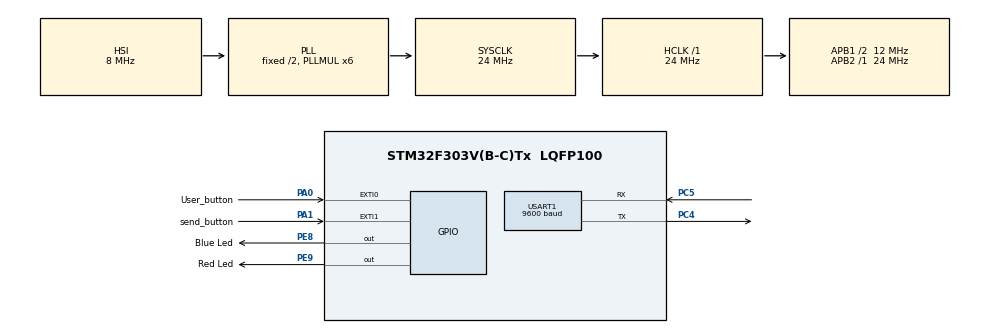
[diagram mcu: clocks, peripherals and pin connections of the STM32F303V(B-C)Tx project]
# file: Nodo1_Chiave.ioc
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Dma.Request0=USART1_TX
Dma.USART1_TX.0.Direction=DMA_MEMORY_TO_PERIPH
Dma.USART1_TX.0.Instance=DMA1_Channel4
Dma.USART1_TX.0.MemDataAlignment=DMA_MDATAALIGN_BYTE
Dma.USART1_TX.0.MemInc=DMA_MINC_ENABLE
Dma.USART1_TX.0.Mode=DMA_NORMAL
Dma.USART1_TX.0.PeriphDataAlignment=DMA_PDATAALIGN_BYTE
Dma.USART1_TX.0.PeriphInc=DMA_PINC_DISABLE
Dma.USART1_TX.0.Priority=DMA_PRIORITY_LOW
Mcu.Family=STM32F3
Mcu.Name=STM32F303V(B-C)Tx
Mcu.Package=LQFP100
NVIC.DMA1_Channel4_IRQn=true\:0\:0\:false\:false\:true\:false\:true\:true
NVIC.EXTI0_IRQn=true\:0\:0\:false\:false\:true\:true\:true\:true
NVIC.EXTI1_IRQn=true\:0\:0\:false\:false\:true\:true\:true\:true
NVIC.PriorityGroup=NVIC_PRIORITYGROUP_0
NVIC.USART1_IRQn=true\:0\:0\:false\:false\:true\:true\:true\:true
PA0.GPIO_Label=User_button
PA0.Signal=GPXTI0
PA1.GPIO_Label=send_button
PA1.GPIO_ModeDefaultEXTI=GPIO_MODE_IT_FALLING
PA1.GPIO_PuPd=GPIO_PULLUP
PA1.Signal=GPXTI1
PC4.Mode=Asynchronous
PC4.Signal=USART1_TX
PC5.Mode=Asynchronous
PC5.Signal=USART1_RX
PE8.GPIO_Label=Blue Led
PE8.Signal=GPIO_Output
PE9.GPIO_Label=Red Led
PE9.Signal=GPIO_Output
ProjectManager.HeapSize=0x200
ProjectManager.StackSize=0x400
ProjectManager.TargetToolchain=STM32CubeIDE
RCC.AHBFreq_Value=24000000
RCC.APB1CLKDivider=RCC_HCLK_DIV2
RCC.APB1Freq_Value=12000000
RCC.APB1TimFreq_Value=24000000
RCC.APB2Freq_Value=24000000
RCC.APB2TimFreq_Value=24000000
RCC.CortexFreq_Value=24000000
RCC.HCLKFreq_Value=24000000
RCC.HSE_VALUE=8000000
RCC.HSI_VALUE=8000000
RCC.LSE_VALUE=32768
RCC.PLLMUL=RCC_PLL_MUL6
RCC.SYSCLKFreq_VALUE=24000000
RCC.SYSCLKSourceVirtual=RCC_SYSCLKSOURCE_PLLCLK
RCC.USBFreq_Value=24000000
USART1.BaudRate=9600
USART1.VirtualMode-Asynchronous=VM_ASYNC
VP_CRC_VS_CRC.Mode=CRC_Activate
board=STM32F3DISCOVERY

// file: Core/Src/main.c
/* USER CODE BEGIN Header */
/**
  ******************************************************************************
  * @file           : main.c
  * @brief          : Main program body
  ******************************************************************************
  * @attention
  *
  * Copyright (c) 2026 STMicroelectronics.
  * All rights reserved.
  *
  * This software is licensed under terms that can be found in the LICENSE file
  * in the root directory of this software component.
  * If no LICENSE file comes with this software, it is provided AS-IS.
  *
  ******************************************************************************
  */
/* USER CODE END Header */
#include "main.h"

/* USER CODE BEGIN Includes */
#include <string.h>
#include <stdio.h>
#include "cmox_crypto.h"
/* USER CODE END Includes */

/* USER CODE BEGIN PD */
#define PACKET_SIZE     32
#define AES_BLOCK_SIZE  16
#define CMOX_AES_IMPL CMOX_AES_SMALL

/*
 * Chiave AES-128 condivisa (16 byte).
 * DEVE essere IDENTICA nel Nodo 2.
 * In un sistema reale verrebbe protetta in Flash OTP o TrustZone;
 * qui e' hardcoded a scopo dimostrativo.
 */
static const uint8_t shared_key[16] = {
    0x2B, 0x7E, 0x15, 0x16,
    0x28, 0xAE, 0xD2, 0xA6,
    0xAB, 0xF7, 0x15, 0x88,
    0x09, 0xCF, 0x4F, 0x3C
};

/*
 * Costante "OPEN" codificata come 4 byte.
 * Inserita nel plaintext come sanity-check post-decifratura sul Nodo 2.
 * 'O'=0x4F 'P'=0x50 'E'=0x45 'N'=0x4E
 */
#define CMD_OPEN_WORD  0x4F50454Eul

/* Padding fisso per completare il blocco da 16 byte (byte 8..15) */
#define PADDING_BYTE   0xAA

/* USER CODE END PD */

CRC_HandleTypeDef hcrc;

UART_HandleTypeDef huart1;
DMA_HandleTypeDef hdma_usart1_tx;

/* USER CODE BEGIN PV */

char tx_buffer[PACKET_SIZE + 1]; // Per la Chiave
uint32_t key_counter = 0; // Il nostro contatore di sicurezza

/*
 * Flag di modalita' operativa, commutabile a runtime dal pulsante:
 *   0 = Scenario 1 (Fase 1, pacchetto in chiaro)
 *   1 = Scenario 2 (Fase 2, pacchetto cifrato con AES-128-ECB)
 * Deve essere tenuto sincronizzato manualmente con il Nodo 2.
 */
uint8_t secure_mode = 0;

/* Buffer di lavoro per la cifratura AES (Fase 2) */
static uint8_t plaintext[AES_BLOCK_SIZE];
static uint8_t ciphertext[AES_BLOCK_SIZE];

/* USER CODE END PV */

void SystemClock_Config(void);
static void MX_GPIO_Init(void);
static void MX_DMA_Init(void);
static void MX_USART1_UART_Init(void);
static void MX_CRC_Init(void);

int main(void)
{

  /* MCU Configuration--------------------------------------------------------*/

  /* Reset of all peripherals, Initializes the Flash interface and the Systick. */
  HAL_Init();

  /* Configure the system clock */
  SystemClock_Config();

  /* Initialize all configured peripherals */
  MX_GPIO_Init();
  MX_DMA_Init();
  MX_USART1_UART_Init();
  MX_CRC_Init();
  /* USER CODE BEGIN 2 */

  /*
   * Inizializzazione della libreria X-CUBE-CRYPTOLIB.
   * Deve essere chiamata una sola volta prima di qualsiasi
   * operazione crittografica. Necessaria anche in Fase 1
   * (nessun overhead: se secure_mode==0 non viene mai usata).
   */
  cmox_initialize(NULL);

  /* USER CODE END 2 */

  /* Infinite loop */
  while (1)
  {

  }
}

void SystemClock_Config(void)
{
  RCC_OscInitTypeDef RCC_OscInitStruct = {0};
  RCC_ClkInitTypeDef RCC_ClkInitStruct = {0};
  RCC_PeriphCLKInitTypeDef PeriphClkInit = {0};

  /** Initializes the RCC Oscillators according to the specified parameters
  * in the RCC_OscInitTypeDef structure.
  */
  RCC_OscInitStruct.OscillatorType = RCC_OSCILLATORTYPE_HSI;
  RCC_OscInitStruct.HSIState = RCC_HSI_ON;
  RCC_OscInitStruct.HSICalibrationValue = RCC_HSICALIBRATION_DEFAULT;
  RCC_OscInitStruct.PLL.PLLState = RCC_PLL_ON;
  RCC_OscInitStruct.PLL.PLLSource = RCC_PLLSOURCE_HSI;
  RCC_OscInitStruct.PLL.PLLMUL = RCC_PLL_MUL6;
  if (HAL_RCC_OscConfig(&RCC_OscInitStruct) != HAL_OK)
  {
    Error_Handler();
  }

  /** Initializes the CPU, AHB and APB buses clocks
  */
  RCC_ClkInitStruct.ClockType = RCC_CLOCKTYPE_HCLK|RCC_CLOCKTYPE_SYSCLK
                              |RCC_CLOCKTYPE_PCLK1|RCC_CLOCKTYPE_PCLK2;
  RCC_ClkInitStruct.SYSCLKSource = RCC_SYSCLKSOURCE_PLLCLK;
  RCC_ClkInitStruct.AHBCLKDivider = RCC_SYSCLK_DIV1;
  RCC_ClkInitStruct.APB1CLKDivider = RCC_HCLK_DIV2;
  RCC_ClkInitStruct.APB2CLKDivider = RCC_HCLK_DIV1;

  if (HAL_RCC_ClockConfig(&RCC_ClkInitStruct, FLASH_LATENCY_0) != HAL_OK)
  {
    Error_Handler();
  }
  PeriphClkInit.PeriphClockSelection = RCC_PERIPHCLK_USART1;
  PeriphClkInit.Usart1ClockSelection = RCC_USART1CLKSOURCE_PCLK2;
  if (HAL_RCCEx_PeriphCLKConfig(&PeriphClkInit) != HAL_OK)
  {
    Error_Handler();
  }
}

static void MX_CRC_Init(void)
{

  hcrc.Instance = CRC;
  hcrc.Init.DefaultPolynomialUse = DEFAULT_POLYNOMIAL_ENABLE;
  hcrc.Init.DefaultInitValueUse = DEFAULT_INIT_VALUE_ENABLE;
  hcrc.Init.InputDataInversionMode = CRC_INPUTDATA_INVERSION_NONE;
  hcrc.Init.OutputDataInversionMode = CRC_OUTPUTDATA_INVERSION_DISABLE;
  hcrc.InputDataFormat = CRC_INPUTDATA_FORMAT_BYTES;
  if (HAL_CRC_Init(&hcrc) != HAL_OK)
  {
    Error_Handler();
  }

}

static void MX_USART1_UART_Init(void)
{

  huart1.Instance = USART1;
  huart1.Init.BaudRate = 9600;
  huart1.Init.WordLength = UART_WORDLENGTH_8B;
  huart1.Init.StopBits = UART_STOPBITS_1;
  huart1.Init.Parity = UART_PARITY_NONE;
  huart1.Init.Mode = UART_MODE_TX_RX;
  huart1.Init.HwFlowCtl = UART_HWCONTROL_NONE;
  huart1.Init.OverSampling = UART_OVERSAMPLING_16;
  huart1.Init.OneBitSampling = UART_ONE_BIT_SAMPLE_DISABLE;
  huart1.AdvancedInit.AdvFeatureInit = UART_ADVFEATURE_NO_INIT;
  if (HAL_UART_Init(&huart1) != HAL_OK)
  {
    Error_Handler();
  }

}

static void MX_DMA_Init(void)
{

  /* DMA controller clock enable */
  __HAL_RCC_DMA1_CLK_ENABLE();

  /* DMA interrupt init */
  /* DMA1_Channel4_IRQn interrupt configuration */
  HAL_NVIC_SetPriority(DMA1_Channel4_IRQn, 0, 0);
  HAL_NVIC_EnableIRQ(DMA1_Channel4_IRQn);

}

static void MX_GPIO_Init(void)
{
  GPIO_InitTypeDef GPIO_InitStruct = {0};

  /* GPIO Ports Clock Enable */
  __HAL_RCC_GPIOA_CLK_ENABLE();
  __HAL_RCC_GPIOC_CLK_ENABLE();
  __HAL_RCC_GPIOE_CLK_ENABLE();

  /*Configure GPIO pin Output Level */
  HAL_GPIO_WritePin(GPIOE, Blue_Led_Pin|Red_Led_Pin, GPIO_PIN_RESET);

  /*Configure GPIO pin : User_button_Pin */
  GPIO_InitStruct.Pin = User_button_Pin;
  GPIO_InitStruct.Mode = GPIO_MODE_IT_RISING;
  GPIO_InitStruct.Pull = GPIO_NOPULL;
  HAL_GPIO_Init(User_button_GPIO_Port, &GPIO_InitStruct);

  /*Configure GPIO pin : send_button_Pin */
  GPIO_InitStruct.Pin = send_button_Pin;
  GPIO_InitStruct.Mode = GPIO_MODE_IT_RISING_FALLING;
  GPIO_InitStruct.Pull = GPIO_PULLUP;
  HAL_GPIO_Init(send_button_GPIO_Port, &GPIO_InitStruct);

  /*Configure GPIO pins : Blue_Led_Pin Red_Led_Pin */
  GPIO_InitStruct.Pin = Blue_Led_Pin|Red_Led_Pin;
  GPIO_InitStruct.Mode = GPIO_MODE_OUTPUT_PP;
  GPIO_InitStruct.Pull = GPIO_NOPULL;
  GPIO_InitStruct.Speed = GPIO_SPEED_FREQ_LOW;
  HAL_GPIO_Init(GPIOE, &GPIO_InitStruct);

  /* EXTI interrupt init*/
  HAL_NVIC_SetPriority(EXTI0_IRQn, 0, 0);
  HAL_NVIC_EnableIRQ(EXTI0_IRQn);

  HAL_NVIC_SetPriority(EXTI1_IRQn, 0, 0);
  HAL_NVIC_EnableIRQ(EXTI1_IRQn);

}

/* USER CODE BEGIN 4 */

void HAL_GPIO_EXTI_Callback(uint16_t GPIO_Pin)
{
    /* ─────────────────────────────────────────────────────────────────────────

     * 1. PULSANTE ONBOARD (GPIO_PIN_0) -> SWITCH MODALITÀ (Safe / Secure)

     * ───────────────────────────────────────────────────────────────────────── */
    if (GPIO_Pin == GPIO_PIN_0)
    {
        uint32_t now = HAL_GetTick();
        static uint32_t last_press_mode = 0;
        // Anti-rimbalzo (Debounce) dedicato alla modalità
        if ((now - last_press_mode) < 200) return;
        last_press_mode = now;
        secure_mode = !secure_mode;
        /*

         * Al cambio di modalità azzera il contatore di trasmissione.

         * Questo permette a Nodo 1 e Nodo 2 di ripartire da zero insieme

         * e rimanere perfettamente sincronizzati.

         */

        key_counter = 0;

        // Feedback visivo: invertiamo il LED arancione/blu (es. PE8) per indicare il cambio

        HAL_GPIO_TogglePin(GPIOE, GPIO_PIN_8);
    }
    /* ─────────────────────────────────────────────────────────────────────────

     * 2. NUOVO PULSANTE ESTERNO (Es. GPIO_PIN_1) -> TRASMISSIONE COMANDO

     * ─────────────────────────────────────────────────────────────────────────

     * NOTA: Sostituisci "GPIO_PIN_1" con il pin esatto che hai scelto su CubeMX

     * (ad esempio GPIO_PIN_3, GPIO_PIN_4, ecc.)

     * ───────────────────────────────────────────────────────────────────────── */
    else if (GPIO_Pin == GPIO_PIN_1)
    {
        uint32_t now = HAL_GetTick();
        static uint32_t  last_edge_time  = 0;
        static uint8_t   button_pressed  = 0;   // <-- flag "già premuto"

        /* Debounce rapido su qualsiasi fronte (50 ms bastano per il rumore) */
        if ((now - last_edge_time) < 50) return;
        last_edge_time = now;

        /* Leggiamo lo stato reale del pin subito dopo il fronte */
        GPIO_PinState state = HAL_GPIO_ReadPin(send_button_GPIO_Port, send_button_Pin);

        if (state == GPIO_PIN_RESET)
        {
            /* ── FRONTE DI DISCESA: pulsante appena premuto ─── */
            if (button_pressed) return;   // già tenuto: ignora assolutamente
            button_pressed = 1;

            key_counter++;

            if (secure_mode == 0)
            {
                /* ── FASE 1: pacchetto in chiaro ─── */
                snprintf(tx_buffer, sizeof(tx_buffer),
                         "OPEN:1234:CNT:%04lu\n", key_counter);
            }
            else
            {
                /* ── FASE 2: pacchetto cifrato AES-128-ECB ─── */
                memset(plaintext, 0, AES_BLOCK_SIZE);

                plaintext[0] = (uint8_t)( key_counter        & 0xFF);
                plaintext[1] = (uint8_t)((key_counter >>  8) & 0xFF);
                plaintext[2] = (uint8_t)((key_counter >> 16) & 0xFF);
                plaintext[3] = (uint8_t)((key_counter >> 24) & 0xFF);

                plaintext[4] = (uint8_t)((CMD_OPEN_WORD >> 24) & 0xFF);
                plaintext[5] = (uint8_t)((CMD_OPEN_WORD >> 16) & 0xFF);
                plaintext[6] = (uint8_t)((CMD_OPEN_WORD >>  8) & 0xFF);
                plaintext[7] = (uint8_t)( CMD_OPEN_WORD        & 0xFF);

                memset(&plaintext[8], PADDING_BYTE, 8);

                size_t output_len = 0;
                cmox_cipher_retval_t retval = cmox_cipher_encrypt(
                    CMOX_AESFAST_ECB_ENC_ALGO,
                    plaintext, AES_BLOCK_SIZE,
                    shared_key, 16,
                    NULL, 0,
                    ciphertext, &output_len);

                if (retval != CMOX_CIPHER_SUCCESS) return;

                for (int i = 0; i < AES_BLOCK_SIZE; i++)
                    snprintf(&tx_buffer[i * 2], 3, "%02X", ciphertext[i]);
            }

            HAL_UART_Transmit_DMA(&huart1, (uint8_t*)tx_buffer, PACKET_SIZE);
            HAL_GPIO_WritePin(GPIOE, GPIO_PIN_9, GPIO_PIN_SET);  // LED TX ON
        }
        else
        {
            /* ── FRONTE DI SALITA: pulsante rilasciato ─── */
            button_pressed = 0;   // ora una nuova pressione sarà accettata
        }
    }
}
void HAL_UART_TxCpltCallback(UART_HandleTypeDef *huart)

{
    // Spegne il LED di trasmissione al completamento del DMA
    HAL_GPIO_WritePin(GPIOE, GPIO_PIN_9, GPIO_PIN_RESET);
}

/* USER CODE END 4 */

void Error_Handler(void)
{
  __disable_irq();
  while (1)
  {
  }
}
